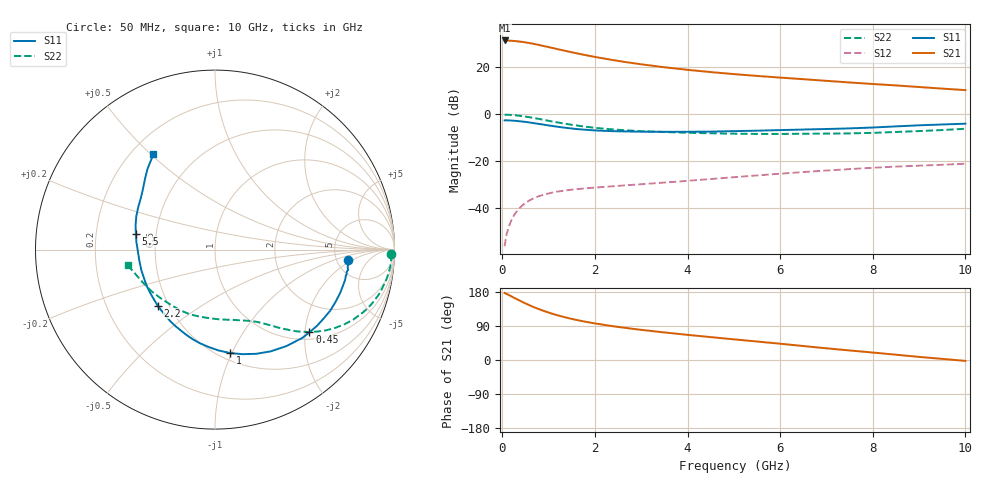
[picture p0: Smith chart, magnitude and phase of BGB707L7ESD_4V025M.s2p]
!  Infineon Technologies AG
!  BGB707L7ESD
!  Vce = 4.0V, Ic = 25.0mA
!  DATUM: 30.06.2009 10:58:51
# GHz  S  MA  R  50
!f  S11  S21  S12  S22
!GHz  Mag  Ang  Mag  Ang  Mag  Ang  Mag  Ang
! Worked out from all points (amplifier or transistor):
!   52 points, 50 MHz to 10 GHz, reference 50 ohm
!   highest |S21| = 31.5 dB at 60 MHz (marker M1)
!   |S21| within 3 dB of that: start of sweep to 1.039 GHz
!   unconditionally stable (mu >= 1): 4.03 GHz to 8.119 GHz
!   at 130 MHz: K = 0.14, MSG = 39.9 dB, |S12| = -48.3 dB
!   at 1.4 GHz: K = 0.48, MSG = 29.6 dB, |S12| = -32.3 dB
!   at 10 GHz: K = 0.90, MSG = 15.7 dB, |S12| = -21.0 dB
!   S11 on the Smith chart (normalised r, x): 50 MHz: 6.40, -1.61; 450 MHz: 1.17, -2.11; 1 GHz: 0.56, -0.98; 2.2 GHz: 0.44, -0.34; 5.5 GHz: 0.38, +0.09; 10 GHz: 0.29, +0.51
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0.05  0.7441 -4.3  36.76 177.0  0.001569 76.9  0.9806 -1.5
0.06  0.7494 -5.9  37.38 176.3  0.001819 73.7  0.9821 -2.2
0.08  0.7447 -7.2  36.83 175.0  0.002465 76.0  0.9827 -3.4
0.13  0.744 -12.1  37.14 172.1  0.003831 79.2  0.9799 -6.1
0.2  0.7384 -18.9  36.88 167.8  0.005674 76.7  0.9706 -9.6
0.35  0.7169 -32.3  35.68 158.3  0.009613 72.1  0.939 -16.6
0.45  0.6992 -41.2  34.68 152.2  0.01193 68.7  0.9118 -20.9
0.6  0.6688 -53.5  32.7 143.7  0.01503 63.9  0.864 -26.8
0.7  0.6464 -61.3  31.36 138.5  0.0168 60.9  0.83 -30.3
1  0.5821 -81.8  26.99 125.2  0.02082 54.2  0.7307 -38.7
1.2  0.544 -93.7  24.35 117.7  0.02277 51.2  0.6722 -43.0
1.4  0.5141 -104.1  22.04 111.4  0.02429 49.1  0.6226 -46.5
1.6  0.4879 -113.5  19.96 105.8  0.02555 47.7  0.5808 -49.4
1.8  0.4709 -121.6  18.22 101.0  0.02667 47.0  0.5468 -51.9
2.2  0.4467 -135.6  15.4 92.6  0.02867 46.6  0.4959 -56.3
2.8  0.4309 -151.2  12.4 82.5  0.03162 47.7  0.4505 -62.4
3.5  0.426 -164.4  10.06 72.7  0.03541 49.8  0.4208 -69.6
4.5  0.4298 -178.9  7.934 60.4  0.0421 52.3  0.3957 -80.7
5.5  0.4498 168.6  6.576 48.8  0.05018 53.3  0.3836 -94.8
7  0.4884 151.2  5.169 30.9  0.06382 51.2  0.3898 -119.8
8.5  0.555 134.6  4.129 14.0  0.07747 46.2  0.422 -146.2
10  0.6331 122.8  3.282 -2.3  0.089 41.1  0.4949 -170.0
